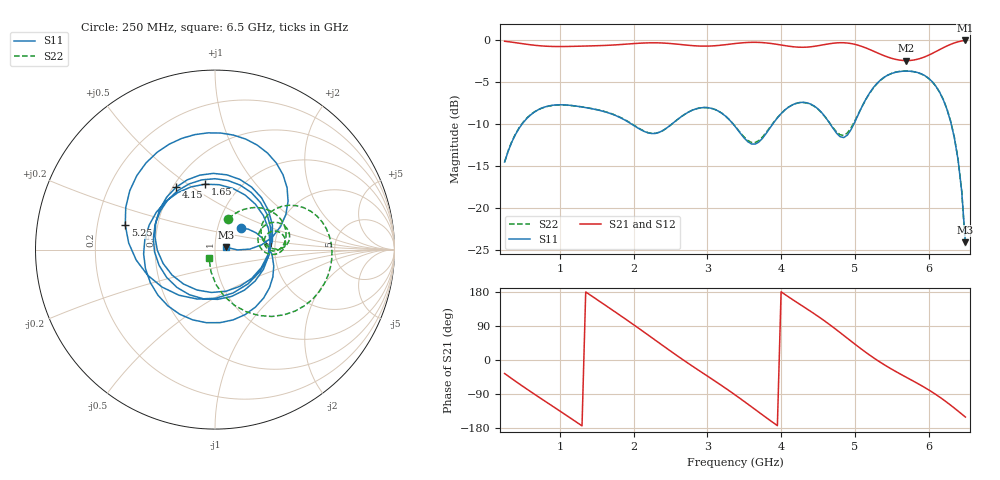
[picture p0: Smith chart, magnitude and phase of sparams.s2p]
! NobuRF pozar-ex5.7-chebyshev-r2: ports 1 "p1", 2 "p2"; 39100 + 38900 steps
# GHz S RI R 50
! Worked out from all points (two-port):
!   126 points, 250 MHz to 6.5 GHz, reference 50 ohm
!   highest |S21| = -0.08 dB at 6.5 GHz (marker M1); lowest = -2.5 dB at 5.7 GHz (marker M2)
!   |S21| within 3 dB of the highest: start of sweep to end of sweep
!   lowest |S11| = -24.1 dB at 6.5 GHz (marker M3), VSWR 1.13, Z = 56.5 + j1.47 ohm
!   |S11| at or under -10 dB: 1.967 GHz to 2.522 GHz (555.1 MHz wide, 24.7 % of centre); 3.347 GHz to 3.889 GHz (541.7 MHz wide, 15 % of centre); 4.665 GHz to 4.988 GHz (323.5 MHz wide, 6.7 % of centre)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
!   |S22| runs from -24.6 to -3.7 dB; largest |S21 - S12| = 0.0004
!   S11 on the Smith chart (normalised r, x): 250 MHz: 1.29, +0.32; 1.65 GHz: 0.69, +0.58; 4.15 GHz: 0.52, +0.43; 5.25 GHz: 0.32, +0.12; 6.5 GHz: 1.13, +0.03
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0.25  0.1431 0.1212  0.7968 -0.5718  0.7969 -0.5718  0.0745 0.1719
0.75  0.225 -0.3208  -0.1997 -0.8981  -0.1997 -0.898  0.3387 0.1965
1  -0.1244 -0.3914  -0.6414 -0.6483  -0.6414 -0.6483  0.3889 0.1276
1.3  -0.3977 -0.0238  -0.9119 -0.0984  -0.9119 -0.0984  0.3941 0.0613
1.65  -0.0562 0.3643  -0.7106 0.5964  -0.7105 0.5964  0.3695 0.0108
2  0.3071 0.0398  -0.0508 0.9482  -0.0508 0.9482  0.3113 -0.00524
2.35  -0.0652 -0.2741  0.6838 0.672  0.6838 0.672  0.2755 0.0596
2.6  -0.3366 -0.0132  0.9271 0.1638  0.927 0.1637  0.3209 0.1023
2.8  -0.2631 0.2767  0.885 -0.2629  0.885 -0.2629  0.3714 0.0887
3.05  0.0726 0.3848  0.606 -0.6909  0.606 -0.6909  0.3909 0.0244
3.4  0.2945 -0.0297  -0.0896 -0.9486  -0.0896 -0.9485  0.2967 -0.0233
3.8  -0.2394 -0.1416  -0.848 -0.446  -0.848 -0.446  0.2575 0.1151
4.15  -0.2173 0.3471  -0.8571 0.3082  -0.8569 0.3082  0.387 0.1328
4.45  0.204 0.3483  -0.4847 0.7755  -0.4848 0.7754  0.4009 0.0287
4.65  0.3198 0.0477  -0.076 0.9437  -0.076 0.9437  0.3241 0.00435
4.9  0.00429 -0.2711  0.5177 0.8049  0.5176 0.8046  0.2562 0.1114
5.25  -0.5 0.1365  0.852 0.0953  0.852 0.0954  0.4535 0.2448
5.5  -0.3221 0.5424  0.708 -0.3174  0.7078 -0.3175  0.6203 0.1166
5.7  -0.0392 0.6504  0.5244 -0.539  0.5242 -0.5388  0.6502 -0.0541
6.25  0.3645 0.1266  -0.342 -0.8534  -0.342 -0.8532  0.1743 -0.3466
6.4  0.1939 0.00266  -0.6842 -0.692  -0.684 -0.6917  0.00634 -0.1958
6.5  0.0611 0.013  -0.8631 -0.4874  -0.8628 -0.4872  -0.0331 -0.049
